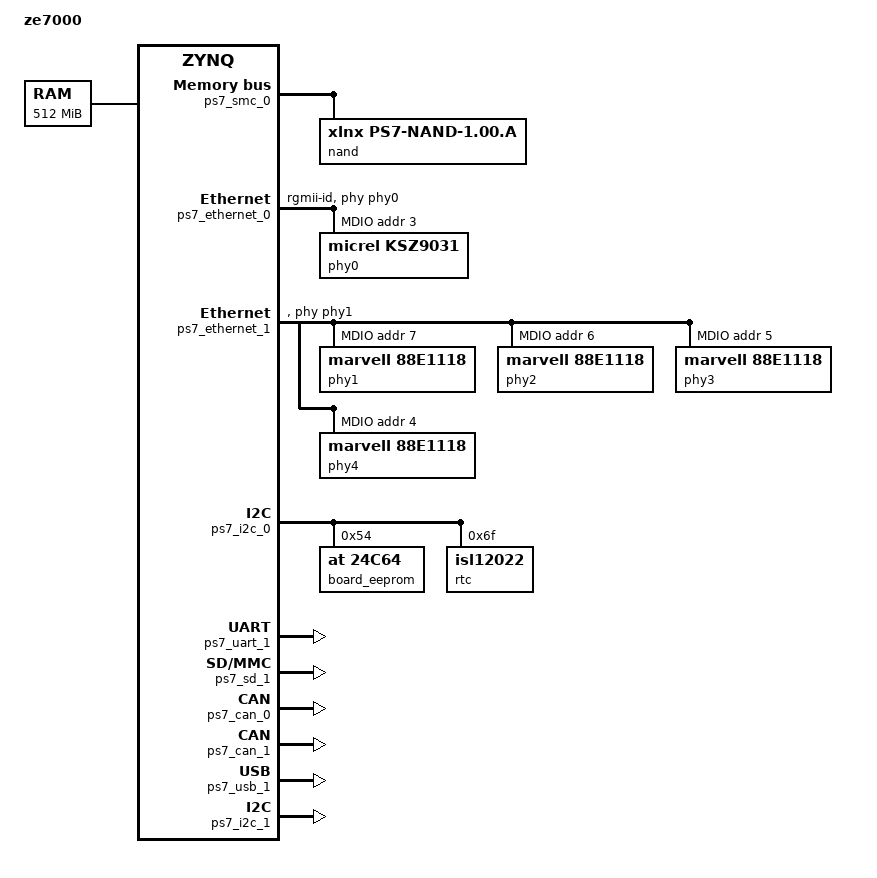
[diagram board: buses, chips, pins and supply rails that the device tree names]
/include/ "zynq-7-base.dtsi"
/ {
	model = "ze7000";

	chosen {
		bootargs = "console=ttyPS0,115200 earlyprintk";
		linux,stdout-path = &ps7_uart_0;
	} ;

	aliases {
		serial0 = &ps7_uart_0;
	} ;

	ps7_ddr_0: memory@0 {
		device_type = "memory";
		reg = < 0x0 0x20000000 >;
	} ;

	ps7_axi_interconnect_0: amba@0 {

		ps7_smc_0: smc@0xe000e000 {
			#address-cells = <1>;
			#size-cells = <1>;
			clock-names = "ref_clk", "aper_clk";
			clocks = <&clkc 11>, <&clkc 44>;
			compatible = "xlnx,ps7-smcc-1.00.a", "xlnx,ps7-smc";
			interrupt-parent = <&ps7_scugic_0>;
			interrupts = <0 18 4>;
			ranges ;
			reg = <0xe000e000 0x1000>;
			xlnx,addr25 = <0x0>;
			xlnx,nor-chip-sel0 = <0x0>;
			xlnx,nor-chip-sel1 = <0x0>;
			xlnx,sram-chip-sel0 = <0x0>;
			xlnx,sram-chip-sel1 = <0x0>;

			nand@e1000000 {
				compatible = "xlnx,ps7-nand-1.00.a";
				reg = <0xe1000000 0x1000000>;
				xlnx,nand-width = <8>;
				/* timings in smc cycles count */
				xlnx,nand-cycle-t0 = <3>; /* tRC */
				xlnx,nand-cycle-t1 = <3>; /* tWC */
				xlnx,nand-cycle-t2 = <1>; /* tREA */
				xlnx,nand-cycle-t3 = <2>; /* tWP */
				xlnx,nand-cycle-t4 = <2>; /* tCLR */
				xlnx,nand-cycle-t5 = <2>; /* tAR */
				xlnx,nand-cycle-t6 = <3>; /* tRR */
				#address-cells = <1>;
				#size-cells = <1>;
			} ;
		} ;

		ps7_ethernet_0: ps7-ethernet@e000b000 {
			reg = <0xe000b000 0x1000>;
			interrupts = <0 22 4>;
			interrupt-parent = <&ps7_scugic_0>;
			phy-handle = <&phy0>;
			phy-mode = "rgmii-id";
			xlnx,slcr-div0-1000Mbps = <8>;
			xlnx,slcr-div0-100Mbps = <8>;
			xlnx,slcr-div0-10Mbps = <8>;
			xlnx,slcr-div1-1000Mbps = <1>;
			xlnx,slcr-div1-100Mbps = <5>;
			xlnx,slcr-div1-10Mbps = <50>;
			local-mac-address = [ ];
			#address-cells = <0x1>;
			#size-cells = <0x0>;
			mdio {
				#address-cells = <1>;
				#size-cells = <0>;
				phy0: phy@3 {
					compatible = "micrel,ksz9031";
					device_type = "ethernet-phy";
					reg = <0x3>;
				};
			};
		} ;

		ps7_ethernet_1: ps7-ethernet@e000c000 {
			reg = <0xe000c000 0x1000>;
			interrupts = <0 45 0>;
			interrupt-parent = <&ps7_scugic_0>;
			phy-handle = <&phy1 &phy2 &phy3 &phy4>;
			phy-mode = "";
			/*
			xlnx,slcr-div0-1000Mbps = <8>;
			xlnx,slcr-div0-100Mbps = <8>;
			xlnx,slcr-div0-10Mbps = <8>;
			xlnx,slcr-div1-1000Mbps = <1>;
			xlnx,slcr-div1-100Mbps = <5>;
			xlnx,slcr-div1-10Mbps = <50>;
			*/
			local-mac-address = [ ];
			#address-cells = <0x1>;
			#size-cells = <0x0>;
			mdio {
				#address-cells = <1>;
				#size-cells = <0>;
				phy1: phy@7 {
					compatible = "marvell,88e1118";
					device_type = "ethernet-phy";
					reg = <7>;
				};

				phy2: phy@6 {
					compatible = "marvell,88e1118";
					device_type = "ethernet-phy";
					reg = <6>;
				};

				phy3: phy@5 {
					compatible = "marvell,88e1118";
					device_type = "ethernet-phy";
					reg = <5>;
				};

				phy4: phy@4 {
					compatible = "marvell,88e1118";
					device_type = "ethernet-phy";
					reg = <4>;
				};
			} ;
		};

		ps7_gpio_0: ps7-gpio@e000a000 {
			gpio-mask-high = <0xc0000>;
			gpio-mask-low = <0xfe81>;
		} ;

		ps7_qspi_linear_0: ps7-qspi-linear@fc000000 {
			xlnx,qspi-clk-freq-hz = <0xe4e1c0>;
		} ;

		ps7_sd_0: ps7-sdio@e0100000 {
			clock-frequency = <125000000>;
			xlnx,sdio-clk-freq-hz = <0x3f93e10>;
		} ;

		ps7_i2c_0: ps7-i2c@e0004000 {

			board_eeprom@54 {
				compatible = "at,24c64";
				reg = <0x54>;
			} ;

			rtc@6F {
				compatible = "isl12022";
				reg = <0x6F>;
			} ;
		} ;

		/* Disabled Devices */
		ps7_uart_1: serial@e0001000 { compatible = "invalid"; };
		ps7_sd_1: ps7-sdio@e0101000 { compatible = "invalid"; };
		ps7_wdt_0: ps7-wdt@f8005000 { compatible = "invalid"; };
		ps7_can_0: ps7-can@e0008000 { compatible = "invalid"; };
		ps7_can_1: ps7-can@e0009000 { compatible = "invalid"; };
		ps7_usb_1: ps7-usb@e0003000 { compatible = "invalid"; };
		ps7_dma_ns: ps7-dma@f8004000 { compatible =" invalid"; };
		ps7_i2c_1: ps7-i2c@e0005000 { compatible = "invalid"; };
	} ;
} ;
